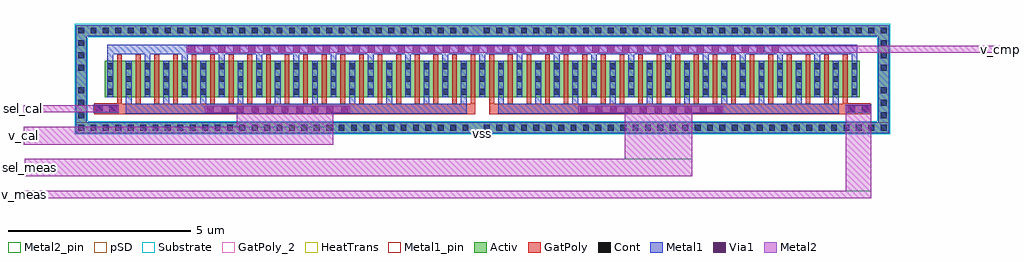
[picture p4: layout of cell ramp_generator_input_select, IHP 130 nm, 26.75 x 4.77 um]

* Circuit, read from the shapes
.subckt ramp_generator_input_select sel_cal sel_meas v_cal v_cmp v_meas vss
XM1 v_cal sel_cal v_cmp vss sg13_lv_nmos w=1u l=0.13u m=20
XM2 sel_meas v_meas v_cmp vss sg13_lv_nmos w=1u l=0.13u m=20
.ends

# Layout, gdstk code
import gdstk
lib = gdstk.Library(unit=1e-6, precision=1e-09)
def R(c, l, rs):  # rectangles x0, y0, x1, y1
    for r in rs: c.add(gdstk.rectangle(r[:2], r[2:], *l))
def A(c, l, x, y, w, h, nx, ny, dx, dy):  # array of equal rectangles
    R(c, l, [(x+i*dx, y+j*dy, x+i*dx+w, y+j*dy+h) for i in range(nx) for j in range(ny)])
def P(c, l, *ps):  # polygons
    for p in ps: c.add(gdstk.Polygon(p, *l))
Activ = (1, 0)
GatPoly = (5, 0)
GatPoly_2 = (5, 2)
Cont = (6, 0)
Metal1 = (8, 0)
Metal1_pin = (8, 2)
Metal2 = (10, 0)
Metal2_pin = (10, 2)
pSD = (14, 0)
Via1 = (19, 0)
Substrate = (40, 0)
HeatTrans = (51, 0)

nmos_4 = lib.new_cell('nmos$4')
A(nmos_4, Activ, 0, 0, 0.3, 0.3, 41, 1, 0.51, 0)
R(nmos_4, Activ, [(-0.8,-0.98,21.5,-0.68), (-0.8,-0.68,-0.5,1.68), (21.2,-0.68,21.5,1.68), (0,0,20.7,1)])
P(nmos_4, Activ, [(-0.8,-0.98),(-0.8,1.68),(-0.5,1.68),(-0.5,-0.68),(21.2,-0.68),(21.2,1.68),(-0.8,1.68),(-0.8,1.98),(21.5,1.98),(21.5,-0.98)])
A(nmos_4, GatPoly, 0.34, -0.18, 0.13, 1.36, 40, 1, 0.51, 0)
R(nmos_4, GatPoly_2, [(0.34,-0.18,0.47,1.18)])
A(nmos_4, Cont, -0.73, -0.91, 0.16, 0.16, 32, 2, 0.34, 2.66)
A(nmos_4, Cont, 10.39, -0.91, 0.16, 0.16, 33, 2, 0.34, 2.66)
A(nmos_4, Cont, -0.73, -0.57, 0.16, 0.16, 1, 3, 0, 0.34)
A(nmos_4, Cont, 21.27, -0.57, 0.16, 0.16, 1, 3, 0, 0.34)
A(nmos_4, Cont, 0.07, 0.07, 0.16, 0.16, 41, 3, 0.51, 0.35)
A(nmos_4, Cont, -0.73, 0.73, 0.16, 0.16, 1, 3, 0, 0.34)
A(nmos_4, Cont, 21.27, 0.73, 0.16, 0.16, 1, 3, 0, 0.34)
A(nmos_4, Metal1, 0.07, 0, 0.16, 1, 41, 1, 0.51, 0)
R(nmos_4, Metal1, [(-0.8,-0.98,21.5,-0.68), (-0.8,-0.68,-0.5,1.68), (21.2,-0.68,21.5,1.68), (-0.8,1.68,21.5,1.98)])
R(nmos_4, Metal1_pin, [(0.07,0,0.23,1), (0.58,0,0.74,1)])
R(nmos_4, pSD, [(-0.83,-1.01,21.53,-0.65), (-0.83,-0.65,-0.47,1.65), (21.17,-0.65,21.53,1.65)])
P(nmos_4, pSD, [(-0.83,-1.01),(-0.83,1.65),(-0.47,1.65),(-0.47,-0.65),(21.17,-0.65),(21.17,1.65),(-0.83,1.65),(-0.83,2.01),(21.53,2.01),(21.53,-1.01)])
R(nmos_4, Substrate, [(-0.83,-1.01,21.53,-0.65), (-0.83,-0.65,-0.47,1.65), (21.17,-0.65,21.53,1.65)])
P(nmos_4, Substrate, [(-0.83,-1.01),(-0.83,1.65),(-0.47,1.65),(-0.47,-0.65),(21.17,-0.65),(21.17,1.65),(-0.83,1.65),(-0.83,2.01),(21.53,2.01),(21.53,-1.01)])
A(nmos_4, HeatTrans, 0.34, -0.18, 0.13, 1.36, 40, 1, 0.51, 0)
nmos_4.add(gdstk.Label('nmos', (0.405,0.5), layer=63, texttype=0))
nmos_4.add(gdstk.Label('sub!', (10.35,-0.83), layer=63, texttype=0))
nmos_4.add(gdstk.Label('nmos', (0.405,0.5), layer=51, texttype=0))
nmos_4.add(gdstk.Label('nmos', (0.915,0.5), layer=51, texttype=0))
nmos_4.add(gdstk.Label('nmos', (1.425,0.5), layer=51, texttype=0))
nmos_4.add(gdstk.Label('nmos', (1.935,0.5), layer=51, texttype=0))
nmos_4.add(gdstk.Label('nmos', (2.445,0.5), layer=51, texttype=0))
nmos_4.add(gdstk.Label('nmos', (2.955,0.5), layer=51, texttype=0))
nmos_4.add(gdstk.Label('nmos', (3.465,0.5), layer=51, texttype=0))
nmos_4.add(gdstk.Label('nmos', (3.975,0.5), layer=51, texttype=0))
nmos_4.add(gdstk.Label('nmos', (4.485,0.5), layer=51, texttype=0))
nmos_4.add(gdstk.Label('nmos', (4.995,0.5), layer=51, texttype=0))
nmos_4.add(gdstk.Label('nmos', (5.505,0.5), layer=51, texttype=0))
nmos_4.add(gdstk.Label('nmos', (6.015,0.5), layer=51, texttype=0))
nmos_4.add(gdstk.Label('nmos', (6.525,0.5), layer=51, texttype=0))
nmos_4.add(gdstk.Label('nmos', (7.035,0.5), layer=51, texttype=0))
nmos_4.add(gdstk.Label('nmos', (7.545,0.5), layer=51, texttype=0))
nmos_4.add(gdstk.Label('nmos', (8.055,0.5), layer=51, texttype=0))
nmos_4.add(gdstk.Label('nmos', (8.565,0.5), layer=51, texttype=0))
nmos_4.add(gdstk.Label('nmos', (9.075,0.5), layer=51, texttype=0))
nmos_4.add(gdstk.Label('nmos', (9.585,0.5), layer=51, texttype=0))
nmos_4.add(gdstk.Label('nmos', (10.095,0.5), layer=51, texttype=0))
nmos_4.add(gdstk.Label('nmos', (10.605,0.5), layer=51, texttype=0))
nmos_4.add(gdstk.Label('nmos', (11.115,0.5), layer=51, texttype=0))
nmos_4.add(gdstk.Label('nmos', (11.625,0.5), layer=51, texttype=0))
nmos_4.add(gdstk.Label('nmos', (12.135,0.5), layer=51, texttype=0))
nmos_4.add(gdstk.Label('nmos', (12.645,0.5), layer=51, texttype=0))
nmos_4.add(gdstk.Label('nmos', (13.155,0.5), layer=51, texttype=0))
nmos_4.add(gdstk.Label('nmos', (13.665,0.5), layer=51, texttype=0))
nmos_4.add(gdstk.Label('nmos', (14.175,0.5), layer=51, texttype=0))
nmos_4.add(gdstk.Label('nmos', (14.685,0.5), layer=51, texttype=0))
nmos_4.add(gdstk.Label('nmos', (15.195,0.5), layer=51, texttype=0))
nmos_4.add(gdstk.Label('nmos', (15.705,0.5), layer=51, texttype=0))
nmos_4.add(gdstk.Label('nmos', (16.215,0.5), layer=51, texttype=0))
nmos_4.add(gdstk.Label('nmos', (16.725,0.5), layer=51, texttype=0))
nmos_4.add(gdstk.Label('nmos', (17.235,0.5), layer=51, texttype=0))
nmos_4.add(gdstk.Label('nmos', (17.745,0.5), layer=51, texttype=0))
nmos_4.add(gdstk.Label('nmos', (18.255,0.5), layer=51, texttype=0))
nmos_4.add(gdstk.Label('nmos', (18.765,0.5), layer=51, texttype=0))
nmos_4.add(gdstk.Label('nmos', (19.275,0.5), layer=51, texttype=0))
nmos_4.add(gdstk.Label('nmos', (19.785,0.5), layer=51, texttype=0))
nmos_4.add(gdstk.Label('nmos', (20.295,0.5), layer=51, texttype=0))

via_stack_24 = lib.new_cell('via_stack$24')
R(via_stack_24, GatPoly, [(-0.32,-0.15,0.32,0.15)])
R(via_stack_24, Cont, [(-0.25,-0.08,-0.09,0.08), (0.09,-0.08,0.25,0.08)])
R(via_stack_24, Metal1, [(-0.35,-0.105,0.35,0.105)])
R(via_stack_24, Metal2, [(-0.35,-0.1,0.35,0.1)])
R(via_stack_24, Via1, [(-0.3,-0.095,-0.11,0.095), (0.11,-0.095,0.3,0.095)])

via_stack_28 = lib.new_cell('via_stack$28')
R(via_stack_28, Metal1, [(-1.99,-0.105,1.99,0.105)])
R(via_stack_28, Metal2, [(-1.99,-0.1,1.99,0.1)])
A(via_stack_28, Via1, -1.94, -0.095, 0.19, 0.19, 10, 1, 0.41, 0)

via_stack_29 = lib.new_cell('via_stack$29')
R(via_stack_29, Metal1, [(-8.14,-0.105,8.14,0.105)])
R(via_stack_29, Metal2, [(-8.14,-0.1,8.14,0.1)])
A(via_stack_29, Via1, -8.09, -0.095, 0.19, 0.19, 40, 1, 0.41, 0)

ramp_generator_input_sel = lib.new_cell('ramp_generator_input_select')
R(ramp_generator_input_sel, GatPoly, [(-10.58,-0.97,-0.19,-0.68), (0.19,-0.97,10.665,-0.68)])
A(ramp_generator_input_sel, Metal1, -9.77, -0.945, 0.16, 0.7, 20, 1, 1.02, 0)
A(ramp_generator_input_sel, Metal1, -10.28, 0.245, 0.16, 0.7, 21, 1, 1.02, 0)
R(ramp_generator_input_sel, Metal1, [(-9.77,-0.945,-0.43,-0.68), (0.43,-0.945,9.77,-0.68), (-10.28,0.68,10.28,0.945)])
R(ramp_generator_input_sel, Metal1_pin, [(-11.15,-1.48,11.15,-1.18)])
R(ramp_generator_input_sel, Metal2, [(-12.565,-3.26,10.665,-3.06), (9.965,-3.26,10.665,-0.715), (-12.55,-2.67,5.76,-2.18), (3.91,-2.67,5.76,-0.73), (-6.735,-1.8,-4.085,-0.825), (-12.565,-1.795,-4.085,-1.305), (-12.565,-0.915,-9.965,-0.715), (7.73,0.72,14.19,0.92)])
R(ramp_generator_input_sel, Metal2_pin, [(-12.565,-3.26,10.665,-3.06), (-12.55,-2.67,5.75,-2.18), (-12.565,-1.795,-4.085,-1.305), (-12.565,-0.915,-9.965,-0.715), (7.73,0.72,14.19,0.92)])
ramp_generator_input_sel.add(gdstk.Reference(nmos_4, (-10.35,-0.5)))
ramp_generator_input_sel.add(gdstk.Reference(via_stack_24, (-10.315,-0.815)))
ramp_generator_input_sel.add(gdstk.Reference(via_stack_24, (10.315,-0.815)))
ramp_generator_input_sel.add(gdstk.Reference(via_stack_28, (-5.615,-0.825)))
ramp_generator_input_sel.add(gdstk.Reference(via_stack_28, (4.62,-0.825)))
ramp_generator_input_sel.add(gdstk.Reference(via_stack_29, (0.03,0.82)))
ramp_generator_input_sel.add(gdstk.Label('vss', (0,-1.48), layer=8, texttype=2))
ramp_generator_input_sel.add(gdstk.Label('sel_cal', (-12.565,-0.815), layer=10, texttype=2))
ramp_generator_input_sel.add(gdstk.Label('v_cal', (-12.565,-1.55), layer=10, texttype=2))
ramp_generator_input_sel.add(gdstk.Label('sel_meas', (-12.545,-2.425), layer=10, texttype=2))
ramp_generator_input_sel.add(gdstk.Label('v_meas', (-12.565,-3.16), layer=10, texttype=2))
ramp_generator_input_sel.add(gdstk.Label('v_cmp', (14.19,0.82), layer=10, texttype=2))

lib.write_gds('ramp_generator_input_select.gds')
